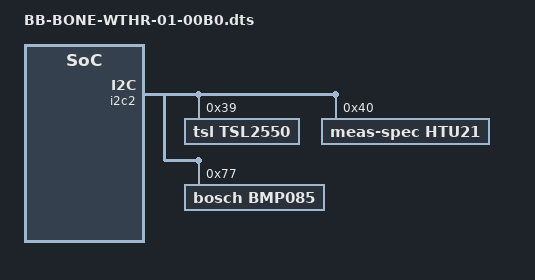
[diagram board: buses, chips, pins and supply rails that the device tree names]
// SPDX-License-Identifier: GPL-2.0-only
/*
* Copyright (C) 2012 Texas Instruments Incorporated - https://www.ti.com/
*/

/dts-v1/;
/plugin/;

/ {
	/*
	 * Helper to show loaded overlays under: /proc/device-tree/chosen/overlays/
	 */
	fragment@0 {
		target-path="/";
		__overlay__ {

			chosen {
				overlays {
					BB-BONE-WTHR-01-00B0 = __TIMESTAMP__;
				};
			};
		};
	};

	/* state the resources this cape uses */
	fragment@1 {
		target = <&i2c2>;
		__overlay__ {

			#address-cells = <1>;
			#size-cells = <0>;

			/* Ambient light sensor */
			tsl2550@39 {
				compatible = "tsl,tsl2550";
				reg = <0x39>;
			};

			/* Humidity Sensor */
			htu21@40 {
				compatible = "meas-spec,htu21";
				reg = <0x40>;
			};

			/* Barometric pressure sensor */
			bmp085@77 {
				compatible = "bosch,bmp085";
				reg = <0x77>;
			};
		};
	};
};
